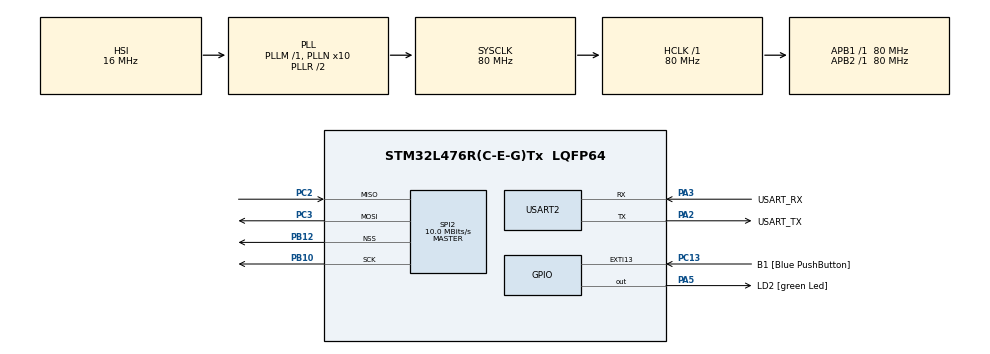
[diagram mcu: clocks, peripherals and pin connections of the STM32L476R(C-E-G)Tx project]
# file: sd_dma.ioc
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Dma.Request0=SPI2_TX
Dma.Request1=SPI2_RX
Dma.SPI2_RX.1.Direction=DMA_PERIPH_TO_MEMORY
Dma.SPI2_RX.1.Instance=DMA1_Channel4
Dma.SPI2_RX.1.MemDataAlignment=DMA_MDATAALIGN_BYTE
Dma.SPI2_RX.1.MemInc=DMA_MINC_ENABLE
Dma.SPI2_RX.1.Mode=DMA_NORMAL
Dma.SPI2_RX.1.PeriphDataAlignment=DMA_PDATAALIGN_BYTE
Dma.SPI2_RX.1.PeriphInc=DMA_PINC_DISABLE
Dma.SPI2_RX.1.Priority=DMA_PRIORITY_LOW
Dma.SPI2_TX.0.Direction=DMA_MEMORY_TO_PERIPH
Dma.SPI2_TX.0.Instance=DMA1_Channel5
Dma.SPI2_TX.0.MemDataAlignment=DMA_MDATAALIGN_BYTE
Dma.SPI2_TX.0.MemInc=DMA_MINC_ENABLE
Dma.SPI2_TX.0.Mode=DMA_NORMAL
Dma.SPI2_TX.0.PeriphDataAlignment=DMA_PDATAALIGN_BYTE
Dma.SPI2_TX.0.PeriphInc=DMA_PINC_DISABLE
Dma.SPI2_TX.0.Priority=DMA_PRIORITY_LOW
FATFS._FS_EXFAT=1
FATFS._MAX_SS=4096
FATFS._MIN_SS=512
FATFS._USE_LFN=3
Mcu.Family=STM32L4
Mcu.Name=STM32L476R(C-E-G)Tx
Mcu.Package=LQFP64
NVIC.DMA1_Channel4_IRQn=true\:6\:0\:true\:false\:true\:false\:true\:true
NVIC.DMA1_Channel5_IRQn=true\:6\:0\:true\:false\:true\:false\:true\:true
NVIC.PriorityGroup=NVIC_PRIORITYGROUP_4
NVIC.SPI2_IRQn=true\:0\:0\:false\:false\:true\:true\:true\:true
NVIC.TIM1_UP_TIM16_IRQn=true\:15\:0\:false\:false\:true\:false\:true\:true
NVIC.TimeBase=TIM1_UP_TIM16_IRQn
NVIC.TimeBaseIP=TIM1
PA13\ (JTMS-SWDIO).GPIO_Label=TMS
PA13\ (JTMS-SWDIO).Mode=Serial_Wire
PA13\ (JTMS-SWDIO).Signal=SYS_JTMS-SWDIO
PA14\ (JTCK-SWCLK).GPIO_Label=TCK
PA14\ (JTCK-SWCLK).Mode=Serial_Wire
PA14\ (JTCK-SWCLK).Signal=SYS_JTCK-SWCLK
PA2.GPIO_Label=USART_TX
PA2.GPIO_Mode=GPIO_MODE_AF_PP
PA2.GPIO_PuPd=GPIO_NOPULL
PA2.GPIO_Speed=GPIO_SPEED_FREQ_VERY_HIGH
PA2.Mode=Asynchronous
PA2.Signal=USART2_TX
PA3.GPIO_Label=USART_RX
PA3.GPIO_Mode=GPIO_MODE_AF_PP
PA3.GPIO_PuPd=GPIO_NOPULL
PA3.GPIO_Speed=GPIO_SPEED_FREQ_VERY_HIGH
PA3.Mode=Asynchronous
PA3.Signal=USART2_RX
PA5.GPIO_Label=LD2 [green Led]
PA5.GPIO_ModeDefaultOutputPP=GPIO_MODE_OUTPUT_PP
PA5.GPIO_PuPd=GPIO_NOPULL
PA5.GPIO_Speed=GPIO_SPEED_FREQ_LOW
PA5.Signal=GPIO_Output
PB10.Mode=Full_Duplex_Master
PB10.Signal=SPI2_SCK
PB12.Mode=NSS_Signal_Hard_Output
PB12.Signal=SPI2_NSS
PB3\ (JTDO-TRACESWO).GPIO_Label=SWO
PB3\ (JTDO-TRACESWO).Signal=SYS_JTDO-SWO
PC13.GPIO_Label=B1 [Blue PushButton]
PC13.GPIO_ModeDefaultEXTI=GPIO_MODE_IT_FALLING
PC13.GPIO_PuPd=GPIO_NOPULL
PC13.Signal=GPXTI13
PC14-OSC32_IN\ (PC14).Mode=LSE-External-Oscillator
PC14-OSC32_IN\ (PC14).Signal=RCC_OSC32_IN
PC15-OSC32_OUT\ (PC15).Mode=LSE-External-Oscillator
PC15-OSC32_OUT\ (PC15).Signal=RCC_OSC32_OUT
PC2.Mode=Full_Duplex_Master
PC2.Signal=SPI2_MISO
PC3.Mode=Full_Duplex_Master
PC3.Signal=SPI2_MOSI
PH0-OSC_IN\ (PH0).Signal=RCC_OSC_IN
PH1-OSC_OUT\ (PH1).Signal=RCC_OSC_OUT
ProjectManager.HeapSize=0x200
ProjectManager.StackSize=0x400
ProjectManager.TargetToolchain=STM32CubeIDE
RCC.ADCFreq_Value=64000000
RCC.AHBFreq_Value=80000000
RCC.APB1Freq_Value=80000000
RCC.APB1TimFreq_Value=80000000
RCC.APB2Freq_Value=80000000
RCC.APB2TimFreq_Value=80000000
RCC.CortexFreq_Value=80000000
RCC.HCLKFreq_Value=80000000
RCC.HSE_VALUE=8000000
RCC.HSI_VALUE=16000000
RCC.MSI_VALUE=4000000
RCC.PLLN=10
RCC.PLLSourceVirtual=RCC_PLLSOURCE_HSI
RCC.PREFETCH_ENABLE=1
RCC.SYSCLKFreq_VALUE=80000000
RCC.SYSCLKSource=RCC_SYSCLKSOURCE_PLLCLK
RCC.USBFreq_Value=64000000
RCC.VCOOutputFreq_Value=160000000
SPI2.BaudRatePrescaler=SPI_BAUDRATEPRESCALER_8
SPI2.CalculateBaudRate=10.0 MBits/s
SPI2.DataSize=SPI_DATASIZE_8BIT
SPI2.Direction=SPI_DIRECTION_2LINES
SPI2.Mode=SPI_MODE_MASTER
SPI2.VirtualNSS=VM_NSSHARD
SPI2.VirtualType=VM_MASTER
TIM2.Channel-Output\ Compare1\ No\ Output=TIM_CHANNEL_1
USART2.VirtualMode-Asynchronous=VM_ASYNC
VP_FATFS_VS_Generic.Mode=User_defined
VP_SYS_VS_tim1.Mode=TIM1
VP_TIM2_VS_no_output1.Mode=Output Compare1 No Output
board=NUCLEO-L476RG

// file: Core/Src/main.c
/* USER CODE BEGIN Header */
/**
  ******************************************************************************
  * @file           : main.c
  * @brief          : Main program body
  ******************************************************************************
  * @attention
  *
  * Copyright (c) 2025 STMicroelectronics.
  * All rights reserved.
  *
  * This software is licensed under terms that can be found in the LICENSE file
  * in the root directory of this software component.
  * If no LICENSE file comes with this software, it is provided AS-IS.
  *
  ******************************************************************************
  */
/* USER CODE END Header */
#include "main.h"
#include "dma.h"
#include "fatfs.h"
#include "spi.h"
#include "tim.h"
#include "usart.h"
#include "gpio.h"

/* USER CODE BEGIN Includes */
//#include "sd_functions.h"
#include "string.h"
#include <stdio.h>
#include <stdarg.h> //for va_list var arg functions
#include <math.h>   // Para sin() y M_PI
#include <string.h>
/* USER CODE END Includes */

/* USER CODE BEGIN PTD */
#ifndef M_PI
#define M_PI 3.14159265358979323846
#endif
/* USER CODE END PTD */

/* USER CODE BEGIN PV */
uint32_t time, difftime;
/* USER CODE END PV */

void SystemClock_Config(void);
/* USER CODE BEGIN PFP */
FRESULT generate_sine_to_csv(const char* filename, double amplitude, double frequency, double duration, int num_points);
void myprintf(const char *fmt, ...);
/* USER CODE END PFP */

/* USER CODE BEGIN 0 */

void HAL_SPI_ErrorCallback(SPI_HandleTypeDef *hspi) {
    // Pon un breakpoint aquí para ver si entras
    // Debuggea hspi->ErrorCode para ver qué tipo de error es
    __NOP(); // Para tener algo donde poner el breakpoint
}

void HAL_DMA_ErrorCallback(DMA_HandleTypeDef *hdma) {
    // Pon un breakpoint aquí también
    // Debuggea hdma->ErrorCode
    __NOP(); // Para tener algo donde poner el breakpoint
}

FATFS fs;  // file system
FIL fil; // File
FILINFO fno;
FRESULT fresult;  // result
UINT br, bw;  // File read/write count

/**** capacity related *****/
FATFS *pfs;
DWORD fre_clust;
uint32_t total, free_space;

#define BUFFER_SIZE 128
char buffer[BUFFER_SIZE];  // to store strings..

int i=0;

int bufsize (char *buf)
{
	int i=0;
	while (*buf++ != '\0') i++;
	return i;
}

void clear_buffer (void)
{
	for (int i=0; i<BUFFER_SIZE; i++) buffer[i] = '\0';
}

void send_uart (char *string)
{
	uint8_t len = strlen (string);
	HAL_UART_Transmit(&huart2, (uint8_t *) string, len, HAL_MAX_DELAY);  // transmit in blocking mode
}

/* USER CODE END 0 */

int main(void)
{

  /* MCU Configuration--------------------------------------------------------*/

  /* Reset of all peripherals, Initializes the Flash interface and the Systick. */
  HAL_Init();

  /* Configure the system clock */
  SystemClock_Config();

  /* Initialize all configured peripherals */
  MX_GPIO_Init();
  MX_DMA_Init();
  MX_USART2_UART_Init();
  MX_SPI2_Init();
  MX_FATFS_Init();
  MX_TIM2_Init();
  /* USER CODE BEGIN 2 */
  HAL_TIM_Base_Start(&htim2);

  FATFS MiFatFs; // Objeto del sistema de archivos
        char MiSdPath[4]; // Ruta ej: "0:/"

        // Attempt to mount the SD card
        FRESULT mount_res = f_mount(&MiFatFs, MiSdPath, 1);
        if (mount_res == FR_OK) {
     	   printf("SD montada. Procediendo a generar CSV...\r\n");

            // Check free space after mounting to diagnose card health/write-protect
            DWORD free_clusters;
            FATFS* filesystem_obj;
            FRESULT getfree_res = f_getfree(MiSdPath, &free_clusters, &filesystem_obj);
            if (getfree_res == FR_OK) {
                total = (filesystem_obj->n_fatent - 2) * filesystem_obj->csize / 2; // Total KB
                free_space = free_clusters * filesystem_obj->csize / 2; // Free KB
                printf("SD Card: Total space: %luKB, Free space: %luKB\r\n", total, free_space);
            } else {
                printf("Error al obtener espacio libre de la SD Card. Codigo FatFs: %d\r\n", getfree_res);
                // This often indicates a deeper issue than just a file not found, even if mount succeeded.
            }

            // --- NEW: Try creating a subdirectory first ---
            const char* data_dir = "0:/DATA";
            FRESULT mkdir_res = f_mkdir(data_dir);
            if (mkdir_res == FR_OK) {
                printf("Directorio '%s' creado exitosamente o ya existe.\r\n", data_dir);
            } else if (mkdir_res == FR_EXIST) {
                printf("Directorio '%s' ya existe. No es necesario crearlo.\r\n", data_dir);
            } else {
                printf("Error al crear directorio '%s'. Codigo FatFs: %d\r\n", data_dir, mkdir_res);
                // If directory creation fails, it's unlikely file creation will succeed.
                // We could exit here or try anyway for more debug info.
            }

            // Call the function to generate the file, now inside the DATA directory
            FRESULT res_sine = generate_sine_to_csv(
                                "0:/DATA/sin1.csv", // File name on SD, now in DATA folder
                                5.0,                // Amplitude = 5.0
                                2.0,                // Frequency = 2 Hz (2 cycles per second)
                                3.0,                // Duration = 3 seconds
                                4                 // Number of points = 150 (will generate 150 points in 3 sec)
                            );
            if (res_sine == FR_OK) {
         	   printf("Archivo CSV 'sin1.csv' generado con éxito en /DATA.\r\n");
            } else {
         	   printf("Fallo al generar el archivo CSV 'sin1.csv'. Codigo FatFs: %d\r\n", res_sine); // Print detailed error
            }

            // Also update the magnitudes file path
            // Note: The write_magnitudes_to_sd call is in HAL_TIM_PeriodElapsedCallback (TIM4),
            // so ensure that the filename there also points to "0:/DATA/magnitudes.csv"
            printf("La escritura de magnitudes intentará usar '0:/DATA/magnitudes.csv'.\r\n");

            // Optional: unmount the drive if no longer needed
            f_mount(NULL, MiSdPath, 0);

        } else {
     	   printf("Error al montar la SD Card. Codigo FatFs: %d\r\n", mount_res); // Print detailed error for mount
        }
  /* USER CODE END 2 */

  /* Infinite loop */
  while (1)
  {

  }
}

void SystemClock_Config(void)
{
  RCC_OscInitTypeDef RCC_OscInitStruct = {0};
  RCC_ClkInitTypeDef RCC_ClkInitStruct = {0};

  /** Configure the main internal regulator output voltage
  */
  if (HAL_PWREx_ControlVoltageScaling(PWR_REGULATOR_VOLTAGE_SCALE1) != HAL_OK)
  {
    Error_Handler();
  }

  /** Initializes the RCC Oscillators according to the specified parameters
  * in the RCC_OscInitTypeDef structure.
  */
  RCC_OscInitStruct.OscillatorType = RCC_OSCILLATORTYPE_HSI;
  RCC_OscInitStruct.HSIState = RCC_HSI_ON;
  RCC_OscInitStruct.HSICalibrationValue = RCC_HSICALIBRATION_DEFAULT;
  RCC_OscInitStruct.PLL.PLLState = RCC_PLL_ON;
  RCC_OscInitStruct.PLL.PLLSource = RCC_PLLSOURCE_HSI;
  RCC_OscInitStruct.PLL.PLLM = 1;
  RCC_OscInitStruct.PLL.PLLN = 10;
  RCC_OscInitStruct.PLL.PLLP = RCC_PLLP_DIV7;
  RCC_OscInitStruct.PLL.PLLQ = RCC_PLLQ_DIV2;
  RCC_OscInitStruct.PLL.PLLR = RCC_PLLR_DIV2;
  if (HAL_RCC_OscConfig(&RCC_OscInitStruct) != HAL_OK)
  {
    Error_Handler();
  }

  /** Initializes the CPU, AHB and APB buses clocks
  */
  RCC_ClkInitStruct.ClockType = RCC_CLOCKTYPE_HCLK|RCC_CLOCKTYPE_SYSCLK
                              |RCC_CLOCKTYPE_PCLK1|RCC_CLOCKTYPE_PCLK2;
  RCC_ClkInitStruct.SYSCLKSource = RCC_SYSCLKSOURCE_PLLCLK;
  RCC_ClkInitStruct.AHBCLKDivider = RCC_SYSCLK_DIV1;
  RCC_ClkInitStruct.APB1CLKDivider = RCC_HCLK_DIV1;
  RCC_ClkInitStruct.APB2CLKDivider = RCC_HCLK_DIV1;

  if (HAL_RCC_ClockConfig(&RCC_ClkInitStruct, FLASH_LATENCY_4) != HAL_OK)
  {
    Error_Handler();
  }
}

/* USER CODE BEGIN 4 */
#define MAX_POINTS_BUFFER_SIZE (4 * 16) // Aproximadamente 65KB
FRESULT generate_sine_to_csv(const char* filename, double amplitude, double frequency, double duration, int num_points) {
    FIL fil;         // Objeto de archivo FatFs
    FRESULT fr;      // Variable para códigos de retorno de FatFs
    UINT bytes_written; // Variable para almacenar bytes escritos por f_write

    // --- Buffer estático para todos los puntos ---
    // ¡Precaución! Un buffer de este tamaño (aprox. 65KB) puede ser grande para la RAM de algunos microcontroladores.
    // Asegúrate de que tu sistema tiene suficiente memoria.
    static char all_points_buffer[MAX_POINTS_BUFFER_SIZE];
    all_points_buffer[0] = '\0'; // Inicializar el buffer como una cadena vacía

    // --- 1. Abrir/Crear el archivo en modo escritura (FA_WRITE) ---
    // FA_CREATE_ALWAYS: Crea un archivo nuevo. Si ya existe, lo sobrescribe.
    fr = f_open(&fil, filename, FA_CREATE_ALWAYS | FA_WRITE);
    if (fr != FR_OK) {
        printf("Error: No se pudo abrir/crear el archivo '%s'. Codigo FatFs: %d\r\n", filename, fr);
        return fr;
    }

    // --- 2. Generar puntos y acumular en el buffer ---
    printf("Generando %d puntos sinusoidales en el buffer...\r\n", num_points);
    char temp_point_buffer[30]; // Buffer temporal para cada punto individual

    // Verificar si el número de puntos excede la capacidad del buffer
    if (num_points > 4096) {
        printf("Error: El número de puntos (%d) excede el máximo soportado por el buffer estático (4096).\r\n", num_points);
        f_close(&fil);
        return FR_INVALID_PARAMETER; // O un código de error apropiado
    }
    difftime = TIM2->CNT - time;
    for (int i = 0; i < num_points; ++i) {
        double t = (double)i * duration / (double)(num_points > 1 ? num_points - 1 : 1);
        double value = amplitude * sin(2.0 * M_PI * frequency * t);

        // Formatear el valor y agregarlo al buffer temporal
        int len = snprintf(temp_point_buffer, sizeof(temp_point_buffer), "%.4f", value);

        // Verificar si snprintf truncó la salida
        if (len < 0 || len >= sizeof(temp_point_buffer)) {
            printf("Advertencia: Buffer temporal insuficiente al formatear punto %d.\r\n", i);
            // Esto podría indicar que tu valor flotante es demasiado grande para el formato "%.4f"
        }

        // Concatenar el valor al buffer principal
        // Asegurarse de que hay espacio suficiente en all_points_buffer ANTES de concatenar
        if (strlen(all_points_buffer) + strlen(temp_point_buffer) + (i < num_points - 1 ? 1 : 0) + 2 >= MAX_POINTS_BUFFER_SIZE) {
            printf("Error: Buffer principal insuficiente para todos los puntos. Reduce num_points o aumenta MAX_POINTS_BUFFER_SIZE.\r\n");
            f_close(&fil);
            return FR_DISK_ERR; // O un error más específico
        }
        strcat(all_points_buffer, temp_point_buffer);

        // Añadir la coma si no es el último punto
        if (i < num_points - 1) {
            strcat(all_points_buffer, ",");
        }
    }
    // Añadir un salto de línea al final de la fila de puntos
    strcat(all_points_buffer, "\n");

    // --- 3. Escribir el buffer completo en el archivo ---
    printf("Escribiendo todos los puntos en el archivo...\r\n");

    time = TIM2->CNT;
    fr = f_write(&fil, all_points_buffer, strlen(all_points_buffer), &bytes_written);

    myprintf("Tiempo de ejecución: %f s\r\n", difftime/80000000.0);

    if (fr != FR_OK || bytes_written < strlen(all_points_buffer)) {
        printf("Error: No se pudieron escribir todos los puntos en '%s'. Codigo FatFs: %d\r\n", filename, fr);
        f_close(&fil);
        return fr;
    }

    // --- 4. Escribir la segunda línea en el mismo archivo ---
    char second_line_data[] = "Datos adicionales del experimento.\n";
    fr = f_write(&fil, second_line_data, strlen(second_line_data), &bytes_written);
    if (fr != FR_OK || bytes_written < strlen(second_line_data)) {
        printf("Error: No se pudo escribir la segunda línea en '%s'. Codigo FatFs: %d\r\n", filename, fr);
        f_close(&fil);
        return fr;
    }

    // --- 5. Cerrar el archivo ---
    fr = f_close(&fil);
    if (fr != FR_OK) {
        printf("Error: No se pudo cerrar el archivo '%s'. Codigo FatFs: %d\r\r\n", filename, fr);
        return fr;
    }

    printf("Datos sinusoidales (fila única) y línea adicional guardados exitosamente en '%s'\r\n", filename);
    return FR_OK; // Indicar éxito
}

void myprintf(const char *fmt, ...) {
  static char buffer[256];
  va_list args;
  va_start(args, fmt);
  vsnprintf(buffer, sizeof(buffer), fmt, args);
  va_end(args);

  int len = strlen(buffer);
  HAL_UART_Transmit(&huart2, (uint8_t*)buffer, len, -1);

}

int _write(int fd, char * ptr, int len)
{
  HAL_UART_Transmit(&huart2, (uint8_t *) ptr, len, HAL_MAX_DELAY);
  return len;
}
/* USER CODE END 4 */

void HAL_TIM_PeriodElapsedCallback(TIM_HandleTypeDef *htim)
{
  if (htim->Instance == TIM1)
  {
    HAL_IncTick();
  }
}

void Error_Handler(void)
{
  __disable_irq();
  while (1)
  {
  }
}
